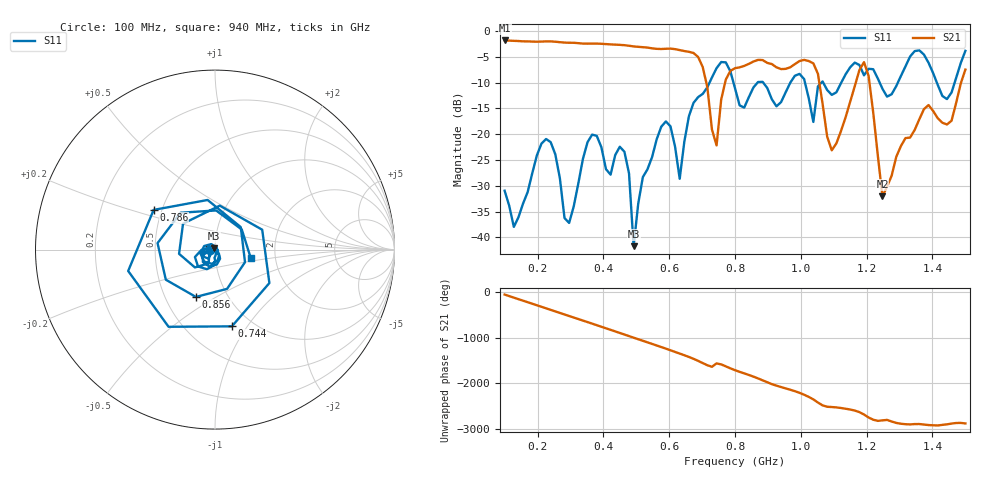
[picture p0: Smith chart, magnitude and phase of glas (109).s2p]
! NanoVNA-App
! Date: 2025-09-25 15:56:19
! Start: 100MHz Stop: 1,5GHz Points: 101
! S-Parameter data: F S11 S21 S12 S22
# Hz S RI R 50
!  Frequency  S11_Real  S11_Imag  S21_Real  S21_Imag  S12_Real  S12_Imag  S22_Real  S22_Imag
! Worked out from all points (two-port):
!   101 points, 100 MHz to 1.5 GHz, reference 50 ohm
!   highest |S21| = -1.80 dB at 100 MHz (marker M1); lowest = -32.1 dB at 1.248 GHz (marker M2)
!   |S21| within 3 dB of the highest: start of sweep to 684.2 MHz
!   lowest |S11| = -41.7 dB at 492 MHz (marker M3), VSWR 1.02, Z = 49.5 + j0.62 ohm
!   |S11| at or under -10 dB: start of sweep to 722.5 MHz; 795.4 MHz to 868.2 MHz (72.77 MHz wide, 8.75 % of centre); 885.9 MHz to 967.9 MHz (82.05 MHz wide, 8.85 % of centre) (the widest 3 of 7)
!   S12 and S22 are empty: the file has one direction only
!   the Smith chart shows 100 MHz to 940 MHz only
!   S11 on the Smith chart (normalised r, x): 100 MHz: 0.95, -0.01; 744 MHz: 0.81, -0.85; 786 MHz: 0.45, +0.24; 856 MHz: 0.71, -0.41; 940 MHz: 1.49, -0.15
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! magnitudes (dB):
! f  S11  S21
! 100 MHz  -31.0  -1.8
! 128 MHz  -38.0  -1.9
! 226 MHz  -20.9  -2.0
! 296 MHz  -37.2  -2.2
! 338 MHz  -24.8  -2.4
! 464 MHz  -23.4  -2.7
! 492 MHz  -41.7  -3.0
! 576 MHz  -18.5  -3.5
! 632 MHz  -28.7  -3.7
! 702 MHz  -12.2  -7.0
! 744 MHz  -7.2  -22.2
! 786 MHz  -7.8  -7.7
! 800 MHz  -11.1  -7.2
! 856 MHz  -10.9  -5.9
! 940 MHz  -13.8  -7.4
! 996 MHz  -8.3  -5.8
! 1.038 GHz  -17.6  -6.2
! 1.094 GHz  -12.4  -23.1
! 1.192 GHz  -8.6  -6.0
! 1.248 GHz  -11.2  -32.1
! 1.276 GHz  -12.2  -28.0
! 1.5 GHz  -3.8  -7.5
